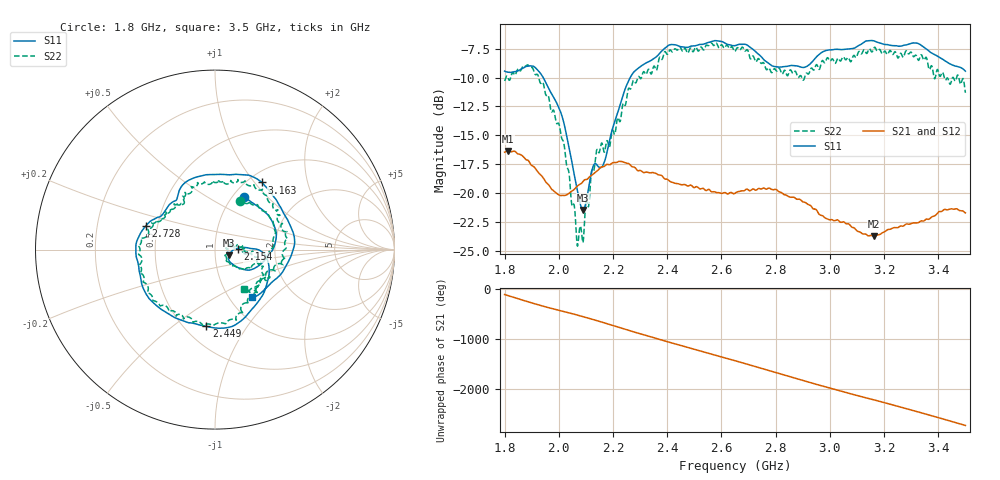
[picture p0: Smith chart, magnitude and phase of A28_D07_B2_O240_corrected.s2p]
! Created with skrf 1.9.0 (http://scikit-rf.org).
# Hz S RI R 50.0
!freq ReS11 ImS11 ReS21 ImS21 ReS12 ImS12 ReS22 ImS22
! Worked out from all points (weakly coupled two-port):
!   1601 points, 1.8 GHz to 3.5 GHz, reference 50 ohm
!   highest |S21| = -16.35 dB at 1.812 GHz (marker M1); lowest = -23.7 dB at 3.162 GHz (marker M2)
!   lowest |S11| = -21.5 dB at 2.09 GHz (marker M3), VSWR 1.18, Z = 58.4 - j3.63 ohm
!   |S11| at or under -10 dB: 1.943 GHz to 2.263 GHz (320.7 MHz wide, 15.2 % of centre)
!   |S22| runs from -24.6 to -7.0 dB; largest |S21 - S12| = 0.0028
!   S11 on the Smith chart (normalised r, x): 1.8 GHz: 1.13, +0.75; 2.154 GHz: 1.30, +0.00; 2.449 GHz: 0.64, -0.67; 2.728 GHz: 0.43, +0.13; 3.163 GHz: 1.15, +1.09; 3.5 GHz: 1.27, -0.76
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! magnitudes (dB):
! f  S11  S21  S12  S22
! 1.8 GHz  -9.4  -16.5  -16.5  -10.3
! 1.812 GHz  -9.5  -16.4  -16.4  -10.0
! 1.885 GHz  -9.0  -17.2  -17.2  -8.9
! 1.941 GHz  -9.9  -18.7  -18.7  -10.4
! 2.013 GHz  -13.4  -20.2  -20.2  -15.4
! 2.067 GHz  -19.6  -19.4  -19.5  -24.3
! 2.084 GHz  -21.3  -19.2  -19.1  -23.4
! 2.09 GHz  -21.5  -19.0  -19.0  -24.2
! 2.127 GHz  -17.7  -18.4  -18.4  -18.1
! 2.154 GHz  -17.8  -17.8  -17.8  -16.0
! 2.188 GHz  -15.4  -17.5  -17.6  -16.0
! 2.261 GHz  -10.1  -17.5  -17.5  -10.9
! 2.367 GHz  -8.0  -18.4  -18.4  -8.6
! 2.449 GHz  -7.3  -19.3  -19.3  -7.4
! 2.65 GHz  -7.2  -20.0  -20.0  -7.7
! 2.728 GHz  -7.8  -19.8  -19.8  -8.6
! 2.934 GHz  -8.7  -21.2  -21.2  -9.2
! 3.162 GHz  -6.8  -23.7  -23.7  -7.5
! 3.163 GHz  -6.8  -23.7  -23.7  -7.4
! 3.217 GHz  -7.2  -23.2  -23.2  -7.8
! 3.324 GHz  -7.0  -22.6  -22.6  -8.4
! 3.5 GHz  -9.4  -21.7  -21.7  -11.3
